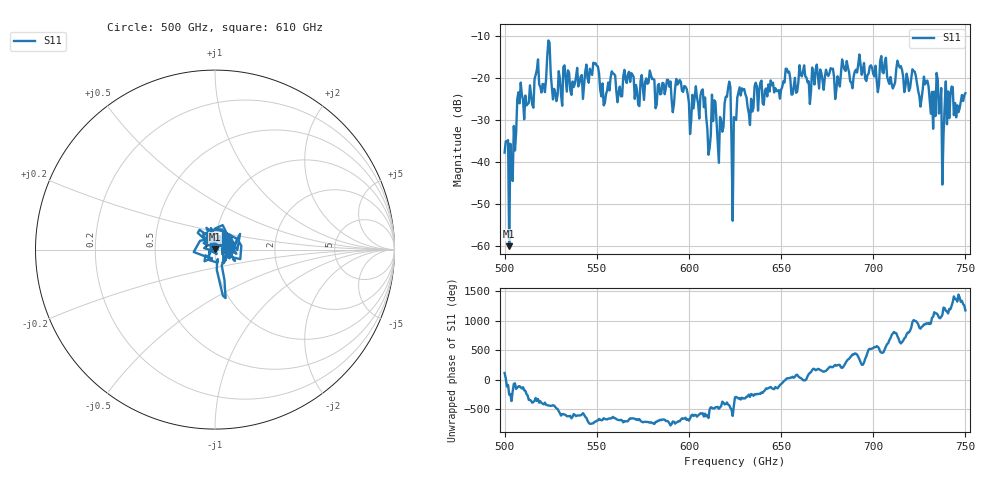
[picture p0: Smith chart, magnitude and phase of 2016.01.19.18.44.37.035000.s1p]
!Created with skrf (http://scikit-rf.org).
# GHz S RI R 50.0
!freq ReS11 ImS11
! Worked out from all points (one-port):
!   401 points, 500 GHz to 750 GHz, reference 50 ohm
!   lowest |S11| = -60.0 dB at 502.5 GHz (marker M1), VSWR 1.00, Z = 50 + j0.0965 ohm
!   |S11| at or under -10 dB: start of sweep to end of sweep
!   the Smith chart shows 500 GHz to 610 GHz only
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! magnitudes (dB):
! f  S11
! 500 GHz  -37.8
! 502.5 GHz  -60.0
! 503.8 GHz  -42.4
! 508.1 GHz  -26.1
! 520.6 GHz  -21.5
! 523.8 GHz  -11.2
! 526.9 GHz  -22.7
! 531.2 GHz  -26.7
! 549.4 GHz  -16.6
! 553.1 GHz  -21.4
! 558.8 GHz  -19.0
! 562.5 GHz  -22.1
! 593.8 GHz  -21.6
! 601.2 GHz  -30.2
! 607.5 GHz  -22.8
! 610.6 GHz  -38.3
! 613.8 GHz  -25.4
! 617.5 GHz  -30.1
! 621.2 GHz  -22.5
! 625 GHz  -29.8
! 628.1 GHz  -24.2
! 633.8 GHz  -25.0
! 656.2 GHz  -24.0
! 687.5 GHz  -20.9
! 718.8 GHz  -20.4
! 735.6 GHz  -28.5
! 736.9 GHz  -22.5
! 750 GHz  -23.7
